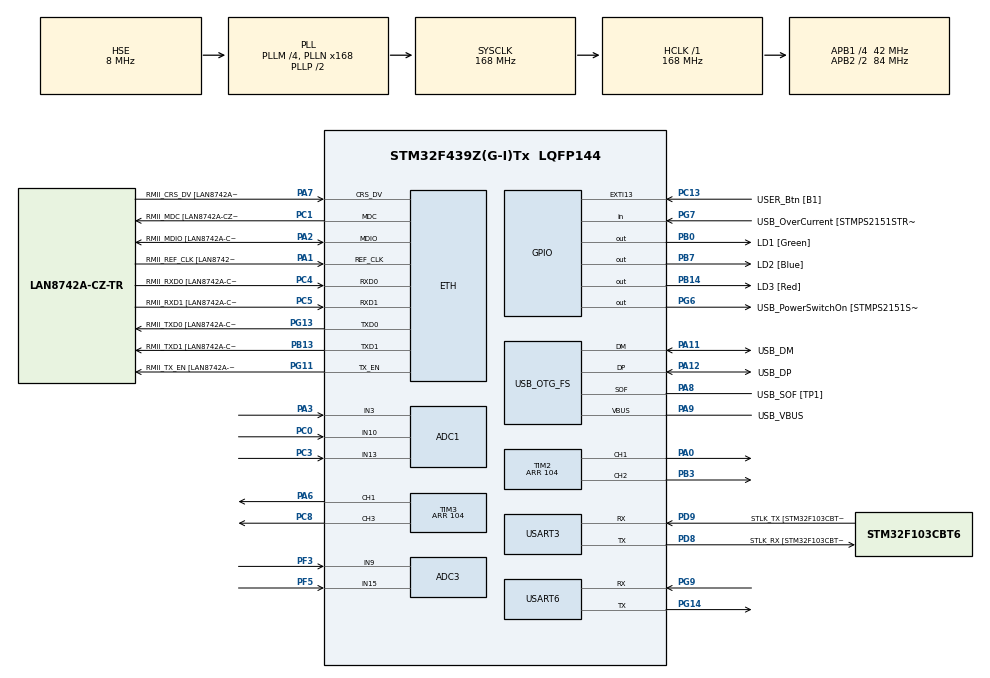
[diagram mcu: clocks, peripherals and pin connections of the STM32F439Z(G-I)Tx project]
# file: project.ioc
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ADC1.Channel-0\#ChannelRegularConversion=ADC_CHANNEL_3
ADC1.Channel-1\#ChannelRegularConversion=ADC_CHANNEL_10
ADC1.Channel-2\#ChannelRegularConversion=ADC_CHANNEL_13
ADC1.DiscontinuousConvMode=ENABLE
ADC1.InjNumberOfConversion=0
ADC1.NbrOfConversion=3
ADC1.NbrOfConversionFlag=1
ADC1.Rank-0\#ChannelRegularConversion=1
ADC1.Rank-1\#ChannelRegularConversion=2
ADC1.Rank-2\#ChannelRegularConversion=3
ADC1.SamplingTime-0\#ChannelRegularConversion=ADC_SAMPLETIME_480CYCLES
ADC1.SamplingTime-1\#ChannelRegularConversion=ADC_SAMPLETIME_480CYCLES
ADC1.SamplingTime-2\#ChannelRegularConversion=ADC_SAMPLETIME_480CYCLES
ADC1.ScanConvMode=ENABLE
ADC1.master=1
ADC3.Channel-0\#ChannelRegularConversion=ADC_CHANNEL_9
ADC3.Channel-1\#ChannelRegularConversion=ADC_CHANNEL_15
ADC3.DiscontinuousConvMode=ENABLE
ADC3.NbrOfConversion=2
ADC3.NbrOfConversionFlag=1
ADC3.Rank-0\#ChannelRegularConversion=1
ADC3.Rank-1\#ChannelRegularConversion=2
ADC3.SamplingTime-0\#ChannelRegularConversion=ADC_SAMPLETIME_480CYCLES
ADC3.SamplingTime-1\#ChannelRegularConversion=ADC_SAMPLETIME_480CYCLES
Dma.Request0=TIM2_CH1
Dma.Request1=TIM2_CH2/CH4
Dma.Request2=TIM3_CH1/TRIG
Dma.Request3=TIM3_CH3
Dma.TIM2_CH1.0.Direction=DMA_MEMORY_TO_PERIPH
Dma.TIM2_CH1.0.FIFOMode=DMA_FIFOMODE_DISABLE
Dma.TIM2_CH1.0.Instance=DMA1_Stream5
Dma.TIM2_CH1.0.MemDataAlignment=DMA_MDATAALIGN_WORD
Dma.TIM2_CH1.0.MemInc=DMA_MINC_ENABLE
Dma.TIM2_CH1.0.Mode=DMA_NORMAL
Dma.TIM2_CH1.0.PeriphDataAlignment=DMA_PDATAALIGN_WORD
Dma.TIM2_CH1.0.PeriphInc=DMA_PINC_DISABLE
Dma.TIM2_CH1.0.Priority=DMA_PRIORITY_LOW
Dma.TIM2_CH2/CH4.1.Direction=DMA_MEMORY_TO_PERIPH
Dma.TIM2_CH2/CH4.1.FIFOMode=DMA_FIFOMODE_DISABLE
Dma.TIM2_CH2/CH4.1.Instance=DMA1_Stream6
Dma.TIM2_CH2/CH4.1.MemDataAlignment=DMA_MDATAALIGN_WORD
Dma.TIM2_CH2/CH4.1.MemInc=DMA_MINC_ENABLE
Dma.TIM2_CH2/CH4.1.Mode=DMA_NORMAL
Dma.TIM2_CH2/CH4.1.PeriphDataAlignment=DMA_PDATAALIGN_WORD
Dma.TIM2_CH2/CH4.1.PeriphInc=DMA_PINC_DISABLE
Dma.TIM2_CH2/CH4.1.Priority=DMA_PRIORITY_LOW
Dma.TIM3_CH1/TRIG.2.Direction=DMA_MEMORY_TO_PERIPH
Dma.TIM3_CH1/TRIG.2.FIFOMode=DMA_FIFOMODE_DISABLE
Dma.TIM3_CH1/TRIG.2.Instance=DMA1_Stream4
Dma.TIM3_CH1/TRIG.2.MemDataAlignment=DMA_MDATAALIGN_HALFWORD
Dma.TIM3_CH1/TRIG.2.MemInc=DMA_MINC_ENABLE
Dma.TIM3_CH1/TRIG.2.Mode=DMA_NORMAL
Dma.TIM3_CH1/TRIG.2.PeriphDataAlignment=DMA_PDATAALIGN_HALFWORD
Dma.TIM3_CH1/TRIG.2.PeriphInc=DMA_PINC_DISABLE
Dma.TIM3_CH1/TRIG.2.Priority=DMA_PRIORITY_LOW
Dma.TIM3_CH3.3.Direction=DMA_MEMORY_TO_PERIPH
Dma.TIM3_CH3.3.FIFOMode=DMA_FIFOMODE_DISABLE
Dma.TIM3_CH3.3.Instance=DMA1_Stream7
Dma.TIM3_CH3.3.MemDataAlignment=DMA_MDATAALIGN_HALFWORD
Dma.TIM3_CH3.3.MemInc=DMA_MINC_ENABLE
Dma.TIM3_CH3.3.Mode=DMA_NORMAL
Dma.TIM3_CH3.3.PeriphDataAlignment=DMA_PDATAALIGN_HALFWORD
Dma.TIM3_CH3.3.PeriphInc=DMA_PINC_DISABLE
Dma.TIM3_CH3.3.Priority=DMA_PRIORITY_LOW
ETH.MediaInterface=HAL_ETH_RMII_MODE
ETH.PHY_Name=LAN8742A_PHY_ADDRESS
ETH.PHY_Value=0
ETH.PhyAddress=0
Mcu.Family=STM32F4
Mcu.Name=STM32F439Z(G-I)Tx
Mcu.Package=LQFP144
NVIC.DMA1_Stream4_IRQn=true\:0\:0\:false\:false\:true\:false\:true\:true
NVIC.DMA1_Stream5_IRQn=true\:0\:0\:false\:false\:true\:false\:true\:true
NVIC.DMA1_Stream6_IRQn=true\:0\:0\:false\:false\:true\:false\:true\:true
NVIC.DMA1_Stream7_IRQn=true\:0\:0\:false\:false\:true\:false\:true\:true
NVIC.PriorityGroup=NVIC_PRIORITYGROUP_4
NVIC.TIM2_IRQn=true\:0\:0\:false\:false\:true\:true\:true\:true
NVIC.TIM3_IRQn=true\:0\:0\:false\:false\:true\:true\:true\:true
PA0/WKUP.Signal=S_TIM2_CH1_ETR
PA1.GPIO_Label=RMII_REF_CLK [LAN8742A-CZ-TR_REFCLK0]
PA1.Mode=RMII
PA1.Signal=ETH_REF_CLK
PA10.GPIO_Label=USB_ID
PA10.Signal=USB_OTG_FS_ID
PA11.GPIO_Label=USB_DM
PA11.Mode=Device_Only
PA11.Signal=USB_OTG_FS_DM
PA12.GPIO_Label=USB_DP
PA12.Mode=Device_Only
PA12.Signal=USB_OTG_FS_DP
PA13.GPIO_Label=TMS
PA13.Mode=Serial_Wire
PA13.Signal=SYS_JTMS-SWDIO
PA14.GPIO_Label=TCK
PA14.Mode=Serial_Wire
PA14.Signal=SYS_JTCK-SWCLK
PA2.GPIO_Label=RMII_MDIO [LAN8742A-CZ-TR_MDIO]
PA2.Mode=RMII
PA2.Signal=ETH_MDIO
PA3.Signal=ADCx_IN3
PA6.Signal=S_TIM3_CH1
PA7.GPIO_Label=RMII_CRS_DV [LAN8742A-CZ-TR_CRS_DV]
PA7.Mode=RMII
PA7.Signal=ETH_CRS_DV
PA8.GPIO_Label=USB_SOF [TP1]
PA8.Mode=Activate_SOF_FS
PA8.Signal=USB_OTG_FS_SOF
PA9.GPIO_Label=USB_VBUS
PA9.Mode=Activate_VBUS
PA9.Signal=USB_OTG_FS_VBUS
PB0.GPIO_Label=LD1 [Green]
PB0.Signal=GPIO_Output
PB13.GPIO_Label=RMII_TXD1 [LAN8742A-CZ-TR_TXD1]
PB13.Mode=RMII
PB13.Signal=ETH_TXD1
PB14.GPIO_Label=LD3 [Red]
PB14.Signal=GPIO_Output
PB3.Signal=S_TIM2_CH2
PB7.GPIO_Label=LD2 [Blue]
PB7.Signal=GPIO_Output
PC0.Signal=ADCx_IN10
PC1.GPIO_Label=RMII_MDC [LAN8742A-CZ-TR_MDC]
PC1.Mode=RMII
PC1.Signal=ETH_MDC
PC13.GPIO_Label=USER_Btn [B1]
PC13.Signal=GPXTI13
PC14/OSC32_IN.Mode=LSE-External-Oscillator
PC14/OSC32_IN.Signal=RCC_OSC32_IN
PC15/OSC32_OUT.Mode=LSE-External-Oscillator
PC15/OSC32_OUT.Signal=RCC_OSC32_OUT
PC3.Signal=ADCx_IN13
PC4.GPIO_Label=RMII_RXD0 [LAN8742A-CZ-TR_RXD0]
PC4.Mode=RMII
PC4.Signal=ETH_RXD0
PC5.GPIO_Label=RMII_RXD1 [LAN8742A-CZ-TR_RXD1]
PC5.Mode=RMII
PC5.Signal=ETH_RXD1
PC8.Signal=S_TIM3_CH3
PD8.GPIO_Label=STLK_RX [STM32F103CBT6_PA3]
PD8.Mode=Asynchronous
PD8.Signal=USART3_TX
PD9.GPIO_Label=STLK_TX [STM32F103CBT6_PA2]
PD9.Mode=Asynchronous
PD9.Signal=USART3_RX
PF3.Mode=IN9
PF3.Signal=ADC3_IN9
PF5.Mode=IN15
PF5.Signal=ADC3_IN15
PG11.GPIO_Label=RMII_TX_EN [LAN8742A-CZ-TR_TXEN]
PG11.Mode=RMII
PG11.Signal=ETH_TX_EN
PG13.GPIO_Label=RMII_TXD0 [LAN8742A-CZ-TR_TXD0]
PG13.Mode=RMII
PG13.Signal=ETH_TXD0
PG14.Mode=Asynchronous
PG14.Signal=USART6_TX
PG6.GPIO_Label=USB_PowerSwitchOn [STMPS2151STR_EN]
PG6.Signal=GPIO_Output
PG7.GPIO_Label=USB_OverCurrent [STMPS2151STR_FAULT]
PG7.Signal=GPIO_Input
PG9.Mode=Asynchronous
PG9.Signal=USART6_RX
PH0/OSC_IN.GPIO_Label=MCO [STM32F103CBT6_PA8]
PH0/OSC_IN.Mode=HSE-External-Clock-Source
PH0/OSC_IN.Signal=RCC_OSC_IN
PH1/OSC_OUT.Mode=HSE-External-Clock-Source
PH1/OSC_OUT.Signal=RCC_OSC_OUT
ProjectManager.HeapSize=0x200
ProjectManager.StackSize=0x400
ProjectManager.TargetToolchain=STM32CubeIDE
RCC.48MHZClocksFreq_Value=48000000
RCC.AHBFreq_Value=168000000
RCC.APB1CLKDivider=RCC_HCLK_DIV4
RCC.APB1Freq_Value=42000000
RCC.APB1TimFreq_Value=84000000
RCC.APB2CLKDivider=RCC_HCLK_DIV2
RCC.APB2Freq_Value=84000000
RCC.APB2TimCLKDivider=2
RCC.APB2TimFreq_Value=168000000
RCC.CortexFreq_Value=168000000
RCC.HCLKFreq_Value=168000000
RCC.HSE_VALUE=8000000
RCC.HSI_VALUE=16000000
RCC.PLLM=4
RCC.PLLMUL=RCC_PLL_MUL9
RCC.PLLN=168
RCC.PLLQ=7
RCC.PRESCALERUSB=RCC_USBCLKSOURCE_PLL_DIV1_5
RCC.SYSCLKFreq_VALUE=168000000
RCC.SYSCLKSource=RCC_SYSCLKSOURCE_PLLCLK
RCC.SYSCLKSourceVirtual=RCC_SYSCLKSOURCE_PLLCLK
RCC.USBFreq_Value=48000000
RCC.VCOOutputFreq_Value=336000000
SH.ADCx_IN10.0=ADC1_IN10,IN10
SH.ADCx_IN13.0=ADC1_IN13,IN13
SH.ADCx_IN3.0=ADC1_IN3,IN3
SH.S_TIM2_CH1_ETR.0=TIM2_CH1,PWM Generation1 CH1
SH.S_TIM2_CH2.0=TIM2_CH2,PWM Generation2 CH2
SH.S_TIM3_CH1.0=TIM3_CH1,PWM Generation1 CH1
SH.S_TIM3_CH3.0=TIM3_CH3,PWM Generation3 CH3
TIM2.Channel-PWM\ Generation1\ CH1=TIM_CHANNEL_1
TIM2.Channel-PWM\ Generation2\ CH2=TIM_CHANNEL_2
TIM2.Period=104
TIM3.Channel-PWM\ Generation1\ CH1=TIM_CHANNEL_1
TIM3.Channel-PWM\ Generation3\ CH3=TIM_CHANNEL_3
TIM3.Period=104
USART3.VirtualMode=VM_ASYNC
USART6.VirtualMode=VM_ASYNC
USB_OTG_FS.VirtualMode=Device_Only
VP_TIM2_VS_ClockSourceINT.Mode=Internal
VP_TIM3_VS_ClockSourceINT.Mode=Internal
board=NUCLEO-F439ZI

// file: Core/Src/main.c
/* USER CODE BEGIN Header */
/**
  ******************************************************************************
  * @file           : main.c
  * @brief          : Main program body
  ******************************************************************************
  * @attention
  *
  * Copyright (c) 2026 STMicroelectronics.
  * All rights reserved.
  *
  * This software is licensed under terms that can be found in the LICENSE file
  * in the root directory of this software component.
  * If no LICENSE file comes with this software, it is provided AS-IS.
  *
  ******************************************************************************
  */
/* USER CODE END Header */
#include "main.h"
#include "string.h"

/* USER CODE BEGIN Includes */
#include <stdio.h>
#include "ws2812b.h"
/* USER CODE END Includes */

/* USER CODE BEGIN PTD */
uint8_t rx_char;
char rx_buffer[50];
int idx = 0;
char uart_buf[128]; // Increased size for printing 4 sensors safely
/* USER CODE END PTD */

ETH_TxPacketConfig TxConfig;
ETH_DMADescTypeDef  DMARxDscrTab[ETH_RX_DESC_CNT]; /* Ethernet Rx DMA Descriptors */
ETH_DMADescTypeDef  DMATxDscrTab[ETH_TX_DESC_CNT]; /* Ethernet Tx DMA Descriptors */

ADC_HandleTypeDef hadc1;
ADC_HandleTypeDef hadc3;

ETH_HandleTypeDef heth;

TIM_HandleTypeDef htim2;
TIM_HandleTypeDef htim3;
DMA_HandleTypeDef hdma_tim2_ch1;
DMA_HandleTypeDef hdma_tim2_ch2_ch4;
DMA_HandleTypeDef hdma_tim3_ch1_trig;
DMA_HandleTypeDef hdma_tim3_ch3;

UART_HandleTypeDef huart3;
UART_HandleTypeDef huart6;

PCD_HandleTypeDef hpcd_USB_OTG_FS;

/* USER CODE BEGIN PV */
uint32_t ldr_values[5] = {0, 0, 0, 0, 0}; // Increased to 5 to hold the Normalization LDR
int dist_values[4] = {999, 999, 999, 999};

uint32_t last_ldr_read_time = 0;

/* USER CODE END PV */

void SystemClock_Config(void);
static void MX_GPIO_Init(void);
static void MX_DMA_Init(void);
static void MX_ETH_Init(void);
static void MX_USART3_UART_Init(void);
static void MX_USB_OTG_FS_PCD_Init(void);
static void MX_USART6_UART_Init(void);
static void MX_ADC1_Init(void);
static void MX_TIM2_Init(void);
static void MX_TIM3_Init(void);
static void MX_ADC3_Init(void);

/* USER CODE BEGIN 0 */
int _write(int file, char *ptr, int len)
{
    HAL_UART_Transmit(&huart3, (uint8_t*)ptr, len, HAL_MAX_DELAY);
    return len;
}

void Auto_Headlight_Logic(int dist[4], uint32_t ldr[5])
{
    char status_buf[200];
    char* state[4];

    // --- NORMALIZATION VARIABLES ---
    uint32_t ambient_light = ldr[4];
    uint32_t day_threshold = 2500;
    uint32_t glare_offset = 300;
    // -----------------------------------

    static int current_brightness[4] = {0, 0, 0, 0};
    int target_brightness[4] = {0, 0, 0, 0};

    // Loop through all 4 strips independently to set targets and colors
    for (int s = 0; s < 4; s++)
    {
        int current_dist = dist[s];
        uint32_t current_ldr = ldr[s];

        // Strip 3 gets 10 LEDs, the rest get 8
        int num_leds = (s == 3) ? 10 : 8;

        // 1. MASTER OVERRIDE: Is it Daytime?
        if (ambient_light > day_threshold) {
            state[s]  = "DAY (DRL)";
            target_brightness[s] = 5;
        }
        // 2. Nighttime Logic
        else {
            // EXC HIGH: Very close (< 10) AND exceptionally bright (* 2)
            if (current_ldr > (ambient_light + glare_offset + 300)) {
                state[s]  = "CAR (Low)";
                target_brightness[s] = 2;
            }
            // OBS: Obstacle close by
            else if (current_dist < 15) {
                state[s]  = "OBS (High)";
                target_brightness[s] = 45;
            }
            // Normal night driving
            else {
                state[s]  = "NIGHT (Norm)";
                target_brightness[s] = 15;
            }
        }

        // 3. Set colors based on the state
        if (state[s][0] == 'D') {
            for(int i = 0; i < num_leds; i++) WS2812_Set_LED(s, i, 255, 255, 255);
        }
        else if (state[s][0] == 'C') {
            // --- MODIFIED: Dynamically calculate cutoff to turn off exactly the top 4 LEDs ---
            int leds_to_keep_on = num_leds - 4;

            for(int i = leds_to_keep_on; i < num_leds; i++) WS2812_Set_LED(s, i, 0, 0, 0);       // Top 4 OFF
            for(int i = 0; i < leds_to_keep_on; i++) WS2812_Set_LED(s, i, 255, 255, 255);        // Remaining Bottom LEDs ON
        }
        else {
            for(int i = 0; i < num_leds; i++) WS2812_Set_LED(s, i, 255, 255, 255);
        }
    }

    // --- RESTORED: CONCURRENT FADING LOOP ---
    // This blocks the rest of the code until the fade is complete,
    // guaranteeing a smooth, fast transition every time the target changes.
    int is_fading = 1;
    int first_pass = 1;

    while (is_fading || first_pass) {
        is_fading = 0;

        for (int s = 0; s < 4; s++) {
            if (current_brightness[s] != target_brightness[s] || first_pass) {

                if (current_brightness[s] < target_brightness[s]) {
                    current_brightness[s]++;
                    is_fading = 1;
                } else if (current_brightness[s] > target_brightness[s]) {
                    current_brightness[s]--;
                    is_fading = 1;
                }

                WS2812_Set_Brightness(s, current_brightness[s]);
                WS2812_Send(s);
            }
        }
        first_pass = 0;

        if (is_fading) {
            HAL_Delay(15); // The magic delay that dictates the speed of your fade
        }
    }
    // --- END FADING LOOP ---

    // 4. Print status
    sprintf(status_buf, "S0:%-12s | S1:%-12s | S2:%-12s | S3:%-12s\r\n",
            state[0], state[1], state[2], state[3]);
    HAL_UART_Transmit(&huart3, (uint8_t *)status_buf, strlen(status_buf), HAL_MAX_DELAY);
}
/* USER CODE END 0 */

int main(void)
{

  /* MCU Configuration--------------------------------------------------------*/

  /* Reset of all peripherals, Initializes the Flash interface and the Systick. */
  HAL_Init();

  /* Configure the system clock */
  SystemClock_Config();

  /* Initialize all configured peripherals */
  MX_GPIO_Init();
  MX_DMA_Init();
  MX_ETH_Init();
  MX_USART3_UART_Init();
  MX_USB_OTG_FS_PCD_Init();
  MX_USART6_UART_Init();
  MX_ADC1_Init();
  MX_TIM2_Init();
  MX_TIM3_Init();
  MX_ADC3_Init();
  /* USER CODE BEGIN 2 */

  ADC_ChannelConfTypeDef sConfigPatch = {0};
    sConfigPatch.SamplingTime = ADC_SAMPLETIME_480CYCLES; // Maximum listen time for LDRs

    // Fix ADC1 (Sensors 1, 2, 3)
    sConfigPatch.Channel = ADC_CHANNEL_3;
    sConfigPatch.Rank = 1;
    HAL_ADC_ConfigChannel(&hadc1, &sConfigPatch);

    sConfigPatch.Channel = ADC_CHANNEL_10;
    sConfigPatch.Rank = 2;
    HAL_ADC_ConfigChannel(&hadc1, &sConfigPatch);

    sConfigPatch.Channel = ADC_CHANNEL_13;
    sConfigPatch.Rank = 3;
    HAL_ADC_ConfigChannel(&hadc1, &sConfigPatch);

    // Fix ADC3 (Sensors 4, 5)
    sConfigPatch.Channel = ADC_CHANNEL_9;
    sConfigPatch.Rank = 1;
    HAL_ADC_ConfigChannel(&hadc3, &sConfigPatch);

    sConfigPatch.Channel = ADC_CHANNEL_15;
    sConfigPatch.Rank = 2;
    HAL_ADC_ConfigChannel(&hadc3, &sConfigPatch);
//   1. First, set the color to White for ALL LEDs on ALL 4 strips
  for(int s = 0; s < 4; s++) {
      for(int i = 0; i < 6; i++) {
          WS2812_Set_LED(s, i, 255, 255, 255);
      }
  }
//
//      // CAR DETECTED -> LOW BEAM
      for(int s = 0; s < 4; s++) WS2812_Set_Brightness(s, 25);
      for(int s = 0; s < 4; s++) {
           WS2812_Send(s);
       }

  /* USER CODE END 2 */

  /* Infinite loop */
  /* USER CODE BEGIN WHILE */
  /* Infinite loop */
    /* USER CODE BEGIN WHILE */
      HAL_UART_Transmit(&huart3, (uint8_t *)"STM32 STARTED!\r\n", 16, 1000);

    while (1)
    {
    	 // 1. RECEIVE 4 ULTRASONIC DISTANCES VIA UART6
    	        // Expected format from other board: "dist1,dist2,dist3,dist4\n"
        if (__HAL_UART_GET_FLAG(&huart6, UART_FLAG_ORE)) {
            __HAL_UART_CLEAR_OREFLAG(&huart6);
        }

        // 1. RECEIVE 4 ULTRASONIC DISTANCES VIA UART6
        // Note: Changed timeout from 10 to 0 so it runs at lightning speed!
        if (HAL_UART_Receive(&huart6, &rx_char, 1, 0) == HAL_OK)
        {
            if (rx_char == '\n')
            {
                rx_buffer[idx] = '\0';
                sscanf((char*)rx_buffer, "%d,%d,%d,%d", &dist_values[0], &dist_values[1], &dist_values[2], &dist_values[3]);
                idx = 0;
            }
            else if (rx_char != '\r')
            {
                rx_buffer[idx++] = rx_char;
                if (idx >= 49) idx = 0; // Prevent buffer overflow
            }
        }

        // 2. READ 5 LDRs (Every 100ms)
                if (HAL_GetTick() - last_ldr_read_time >= 100)
                {
                    // --- READ ADC1 (Sensors 1, 2, 3) ---
                    // Trigger 1: Hardware automatically reads Rank 1 (PA3)
                    HAL_ADC_Start(&hadc1);
                    if (HAL_ADC_PollForConversion(&hadc1, 10) == HAL_OK) ldr_values[0] = HAL_ADC_GetValue(&hadc1);

                    // Trigger 2: Hardware automatically steps to Rank 2 (PC0)
                    HAL_ADC_Start(&hadc1);
                    if (HAL_ADC_PollForConversion(&hadc1, 10) == HAL_OK) ldr_values[1] = HAL_ADC_GetValue(&hadc1);

                    // Trigger 3: Hardware automatically steps to Rank 3 (PC3)
                    HAL_ADC_Start(&hadc1);
                    if (HAL_ADC_PollForConversion(&hadc1, 10) == HAL_OK) ldr_values[2] = HAL_ADC_GetValue(&hadc1);

                    HAL_ADC_Stop(&hadc1);  // Resets sequence back to Rank 1 for the next loop

                    // --- READ ADC3 (Sensors 4, 5) ---
                    // Trigger 1: Hardware automatically reads Rank 1 (PF3)
                    HAL_ADC_Start(&hadc3);
                    if (HAL_ADC_PollForConversion(&hadc3, 10) == HAL_OK) ldr_values[3] = HAL_ADC_GetValue(&hadc3);

                    // Trigger 2: Hardware automatically steps to Rank 2 (Channel 15)
                    HAL_ADC_Start(&hadc3);
                    if (HAL_ADC_PollForConversion(&hadc3, 10) == HAL_OK) ldr_values[4] = HAL_ADC_GetValue(&hadc3);

                    HAL_ADC_Stop(&hadc3);  // Resets sequence back to Rank 1 for the next loop

                    // 3. CALL OUR INDEPENDENT LOGIC FUNCTION
                    Auto_Headlight_Logic(dist_values, ldr_values);

                    // 4. PRINT THE SENSOR VALUES
                    sprintf(uart_buf, "DIST: %d, %d, %d, %d | LDR: %lu, %lu, %lu, %lu | NORM: %lu\r\n",
                            dist_values[0], dist_values[1], dist_values[2], dist_values[3],
                            ldr_values[0], ldr_values[1], ldr_values[2], ldr_values[3], ldr_values[4]);
                    HAL_UART_Transmit(&huart3, (uint8_t *)uart_buf, strlen(uart_buf), HAL_MAX_DELAY);

                    last_ldr_read_time = HAL_GetTick();
                }
    /* USER CODE END WHILE */

  }
}
//hello
void SystemClock_Config(void)
{
  RCC_OscInitTypeDef RCC_OscInitStruct = {0};
  RCC_ClkInitTypeDef RCC_ClkInitStruct = {0};

  /** Configure the main internal regulator output voltage
  */
  __HAL_RCC_PWR_CLK_ENABLE();
  __HAL_PWR_VOLTAGESCALING_CONFIG(PWR_REGULATOR_VOLTAGE_SCALE1);

  /** Initializes the RCC Oscillators according to the specified parameters
  * in the RCC_OscInitTypeDef structure.
  */
  RCC_OscInitStruct.OscillatorType = RCC_OSCILLATORTYPE_HSE;
  RCC_OscInitStruct.HSEState = RCC_HSE_BYPASS;
  RCC_OscInitStruct.PLL.PLLState = RCC_PLL_ON;
  RCC_OscInitStruct.PLL.PLLSource = RCC_PLLSOURCE_HSE;
  RCC_OscInitStruct.PLL.PLLM = 4;
  RCC_OscInitStruct.PLL.PLLN = 168;
  RCC_OscInitStruct.PLL.PLLP = RCC_PLLP_DIV2;
  RCC_OscInitStruct.PLL.PLLQ = 7;
  if (HAL_RCC_OscConfig(&RCC_OscInitStruct) != HAL_OK)
  {
    Error_Handler();
  }

  /** Initializes the CPU, AHB and APB buses clocks
  */
  RCC_ClkInitStruct.ClockType = RCC_CLOCKTYPE_HCLK|RCC_CLOCKTYPE_SYSCLK
                              |RCC_CLOCKTYPE_PCLK1|RCC_CLOCKTYPE_PCLK2;
  RCC_ClkInitStruct.SYSCLKSource = RCC_SYSCLKSOURCE_PLLCLK;
  RCC_ClkInitStruct.AHBCLKDivider = RCC_SYSCLK_DIV1;
  RCC_ClkInitStruct.APB1CLKDivider = RCC_HCLK_DIV4;
  RCC_ClkInitStruct.APB2CLKDivider = RCC_HCLK_DIV2;

  if (HAL_RCC_ClockConfig(&RCC_ClkInitStruct, FLASH_LATENCY_5) != HAL_OK)
  {
    Error_Handler();
  }
}

static void MX_ADC1_Init(void)
{

  ADC_ChannelConfTypeDef sConfig = {0};

  /** Configure the global features of the ADC (Clock, Resolution, Data Alignment and number of conversion)
  */
  hadc1.Instance = ADC1;
  hadc1.Init.ClockPrescaler = ADC_CLOCK_SYNC_PCLK_DIV4;
  hadc1.Init.Resolution = ADC_RESOLUTION_12B;
  hadc1.Init.ScanConvMode = ENABLE;
  hadc1.Init.ContinuousConvMode = DISABLE;
  hadc1.Init.DiscontinuousConvMode = ENABLE;
  hadc1.Init.NbrOfDiscConversion = 1;
  hadc1.Init.ExternalTrigConvEdge = ADC_EXTERNALTRIGCONVEDGE_NONE;
  hadc1.Init.ExternalTrigConv = ADC_SOFTWARE_START;
  hadc1.Init.DataAlign = ADC_DATAALIGN_RIGHT;
  hadc1.Init.NbrOfConversion = 3;
  hadc1.Init.DMAContinuousRequests = DISABLE;
  hadc1.Init.EOCSelection = ADC_EOC_SINGLE_CONV;
  if (HAL_ADC_Init(&hadc1) != HAL_OK)
  {
    Error_Handler();
  }

  /** Configure for the selected ADC regular channel its corresponding rank in the sequencer and its sample time.
  */
  sConfig.Channel = ADC_CHANNEL_3;
  sConfig.Rank = 1;
  sConfig.SamplingTime = ADC_SAMPLETIME_480CYCLES;
  if (HAL_ADC_ConfigChannel(&hadc1, &sConfig) != HAL_OK)
  {
    Error_Handler();
  }

  /** Configure for the selected ADC regular channel its corresponding rank in the sequencer and its sample time.
  */
  sConfig.Channel = ADC_CHANNEL_10;
  sConfig.Rank = 2;
  if (HAL_ADC_ConfigChannel(&hadc1, &sConfig) != HAL_OK)
  {
    Error_Handler();
  }

  /** Configure for the selected ADC regular channel its corresponding rank in the sequencer and its sample time.
  */
  sConfig.Channel = ADC_CHANNEL_13;
  sConfig.Rank = 3;
  if (HAL_ADC_ConfigChannel(&hadc1, &sConfig) != HAL_OK)
  {
    Error_Handler();
  }

}

static void MX_ADC3_Init(void)
{

  ADC_ChannelConfTypeDef sConfig = {0};

  /** Configure the global features of the ADC (Clock, Resolution, Data Alignment and number of conversion)
  */
  hadc3.Instance = ADC3;
  hadc3.Init.ClockPrescaler = ADC_CLOCK_SYNC_PCLK_DIV4;
  hadc3.Init.Resolution = ADC_RESOLUTION_12B;
  hadc3.Init.ScanConvMode = ENABLE;
  hadc3.Init.ContinuousConvMode = DISABLE;
  hadc3.Init.DiscontinuousConvMode = ENABLE;
  hadc3.Init.NbrOfDiscConversion = 1;
  hadc3.Init.ExternalTrigConvEdge = ADC_EXTERNALTRIGCONVEDGE_NONE;
  hadc3.Init.ExternalTrigConv = ADC_SOFTWARE_START;
  hadc3.Init.DataAlign = ADC_DATAALIGN_RIGHT;
  hadc3.Init.NbrOfConversion = 2;
  hadc3.Init.DMAContinuousRequests = DISABLE;
  hadc3.Init.EOCSelection = ADC_EOC_SINGLE_CONV;
  if (HAL_ADC_Init(&hadc3) != HAL_OK)
  {
    Error_Handler();
  }

  /** Configure for the selected ADC regular channel its corresponding rank in the sequencer and its sample time.
  */
  sConfig.Channel = ADC_CHANNEL_9;
  sConfig.Rank = 1;
  sConfig.SamplingTime = ADC_SAMPLETIME_480CYCLES;
  if (HAL_ADC_ConfigChannel(&hadc3, &sConfig) != HAL_OK)
  {
    Error_Handler();
  }

  /** Configure for the selected ADC regular channel its corresponding rank in the sequencer and its sample time.
  */
  sConfig.Channel = ADC_CHANNEL_15;
  sConfig.Rank = 2;
  if (HAL_ADC_ConfigChannel(&hadc3, &sConfig) != HAL_OK)
  {
    Error_Handler();
  }

}

static void MX_ETH_Init(void)
{

   static uint8_t MACAddr[6];

  heth.Instance = ETH;
  MACAddr[0] = 0x00;
  MACAddr[1] = 0x80;
  MACAddr[2] = 0xE1;
  MACAddr[3] = 0x00;
  MACAddr[4] = 0x00;
  MACAddr[5] = 0x00;
  heth.Init.MACAddr = &MACAddr[0];
  heth.Init.MediaInterface = HAL_ETH_RMII_MODE;
  heth.Init.TxDesc = DMATxDscrTab;
  heth.Init.RxDesc = DMARxDscrTab;
  heth.Init.RxBuffLen = 1524;

  if (HAL_ETH_Init(&heth) != HAL_OK)
  {
    Error_Handler();
  }

  memset(&TxConfig, 0 , sizeof(ETH_TxPacketConfig));
  TxConfig.Attributes = ETH_TX_PACKETS_FEATURES_CSUM | ETH_TX_PACKETS_FEATURES_CRCPAD;
  TxConfig.ChecksumCtrl = ETH_CHECKSUM_IPHDR_PAYLOAD_INSERT_PHDR_CALC;
  TxConfig.CRCPadCtrl = ETH_CRC_PAD_INSERT;

}

static void MX_TIM2_Init(void)
{

  TIM_ClockConfigTypeDef sClockSourceConfig = {0};
  TIM_MasterConfigTypeDef sMasterConfig = {0};
  TIM_OC_InitTypeDef sConfigOC = {0};

  htim2.Instance = TIM2;
  htim2.Init.Prescaler = 0;
  htim2.Init.CounterMode = TIM_COUNTERMODE_UP;
  htim2.Init.Period = 104;
  htim2.Init.ClockDivision = TIM_CLOCKDIVISION_DIV1;
  htim2.Init.AutoReloadPreload = TIM_AUTORELOAD_PRELOAD_DISABLE;
  if (HAL_TIM_Base_Init(&htim2) != HAL_OK)
  {
    Error_Handler();
  }
  sClockSourceConfig.ClockSource = TIM_CLOCKSOURCE_INTERNAL;
  if (HAL_TIM_ConfigClockSource(&htim2, &sClockSourceConfig) != HAL_OK)
  {
    Error_Handler();
  }
  if (HAL_TIM_PWM_Init(&htim2) != HAL_OK)
  {
    Error_Handler();
  }
  sMasterConfig.MasterOutputTrigger = TIM_TRGO_RESET;
  sMasterConfig.MasterSlaveMode = TIM_MASTERSLAVEMODE_DISABLE;
  if (HAL_TIMEx_MasterConfigSynchronization(&htim2, &sMasterConfig) != HAL_OK)
  {
    Error_Handler();
  }
  sConfigOC.OCMode = TIM_OCMODE_PWM1;
  sConfigOC.Pulse = 0;
  sConfigOC.OCPolarity = TIM_OCPOLARITY_HIGH;
  sConfigOC.OCFastMode = TIM_OCFAST_DISABLE;
  if (HAL_TIM_PWM_ConfigChannel(&htim2, &sConfigOC, TIM_CHANNEL_1) != HAL_OK)
  {
    Error_Handler();
  }
  if (HAL_TIM_PWM_ConfigChannel(&htim2, &sConfigOC, TIM_CHANNEL_2) != HAL_OK)
  {
    Error_Handler();
  }
  HAL_TIM_MspPostInit(&htim2);

}

static void MX_TIM3_Init(void)
{

  TIM_ClockConfigTypeDef sClockSourceConfig = {0};
  TIM_MasterConfigTypeDef sMasterConfig = {0};
  TIM_OC_InitTypeDef sConfigOC = {0};

  htim3.Instance = TIM3;
  htim3.Init.Prescaler = 0;
  htim3.Init.CounterMode = TIM_COUNTERMODE_UP;
  htim3.Init.Period = 104;
  htim3.Init.ClockDivision = TIM_CLOCKDIVISION_DIV1;
  htim3.Init.AutoReloadPreload = TIM_AUTORELOAD_PRELOAD_DISABLE;
  if (HAL_TIM_Base_Init(&htim3) != HAL_OK)
  {
    Error_Handler();
  }
  sClockSourceConfig.ClockSource = TIM_CLOCKSOURCE_INTERNAL;
  if (HAL_TIM_ConfigClockSource(&htim3, &sClockSourceConfig) != HAL_OK)
  {
    Error_Handler();
  }
  if (HAL_TIM_PWM_Init(&htim3) != HAL_OK)
  {
    Error_Handler();
  }
  sMasterConfig.MasterOutputTrigger = TIM_TRGO_RESET;
  sMasterConfig.MasterSlaveMode = TIM_MASTERSLAVEMODE_DISABLE;
  if (HAL_TIMEx_MasterConfigSynchronization(&htim3, &sMasterConfig) != HAL_OK)
  {
    Error_Handler();
  }
  sConfigOC.OCMode = TIM_OCMODE_PWM1;
  sConfigOC.Pulse = 0;
  sConfigOC.OCPolarity = TIM_OCPOLARITY_HIGH;
  sConfigOC.OCFastMode = TIM_OCFAST_DISABLE;
  if (HAL_TIM_PWM_ConfigChannel(&htim3, &sConfigOC, TIM_CHANNEL_1) != HAL_OK)
  {
    Error_Handler();
  }
  if (HAL_TIM_PWM_ConfigChannel(&htim3, &sConfigOC, TIM_CHANNEL_3) != HAL_OK)
  {
    Error_Handler();
  }
  HAL_TIM_MspPostInit(&htim3);

}

static void MX_USART3_UART_Init(void)
{

  huart3.Instance = USART3;
  huart3.Init.BaudRate = 115200;
  huart3.Init.WordLength = UART_WORDLENGTH_8B;
  huart3.Init.StopBits = UART_STOPBITS_1;
  huart3.Init.Parity = UART_PARITY_NONE;
  huart3.Init.Mode = UART_MODE_TX_RX;
  huart3.Init.HwFlowCtl = UART_HWCONTROL_NONE;
  huart3.Init.OverSampling = UART_OVERSAMPLING_16;
  if (HAL_UART_Init(&huart3) != HAL_OK)
  {
    Error_Handler();
  }

}

static void MX_USART6_UART_Init(void)
{

  huart6.Instance = USART6;
  huart6.Init.BaudRate = 115200;
  huart6.Init.WordLength = UART_WORDLENGTH_8B;
  huart6.Init.StopBits = UART_STOPBITS_1;
  huart6.Init.Parity = UART_PARITY_NONE;
  huart6.Init.Mode = UART_MODE_TX_RX;
  huart6.Init.HwFlowCtl = UART_HWCONTROL_NONE;
  huart6.Init.OverSampling = UART_OVERSAMPLING_16;
  if (HAL_UART_Init(&huart6) != HAL_OK)
  {
    Error_Handler();
  }

}

static void MX_USB_OTG_FS_PCD_Init(void)
{

  hpcd_USB_OTG_FS.Instance = USB_OTG_FS;
  hpcd_USB_OTG_FS.Init.dev_endpoints = 4;
  hpcd_USB_OTG_FS.Init.speed = PCD_SPEED_FULL;
  hpcd_USB_OTG_FS.Init.dma_enable = DISABLE;
  hpcd_USB_OTG_FS.Init.phy_itface = PCD_PHY_EMBEDDED;
  hpcd_USB_OTG_FS.Init.Sof_enable = ENABLE;
  hpcd_USB_OTG_FS.Init.low_power_enable = DISABLE;
  hpcd_USB_OTG_FS.Init.lpm_enable = DISABLE;
  hpcd_USB_OTG_FS.Init.vbus_sensing_enable = ENABLE;
  hpcd_USB_OTG_FS.Init.use_dedicated_ep1 = DISABLE;
  if (HAL_PCD_Init(&hpcd_USB_OTG_FS) != HAL_OK)
  {
    Error_Handler();
  }

}

static void MX_DMA_Init(void)
{

  /* DMA controller clock enable */
  __HAL_RCC_DMA1_CLK_ENABLE();

  /* DMA interrupt init */
  /* DMA1_Stream4_IRQn interrupt configuration */
  HAL_NVIC_SetPriority(DMA1_Stream4_IRQn, 0, 0);
  HAL_NVIC_EnableIRQ(DMA1_Stream4_IRQn);
  /* DMA1_Stream5_IRQn interrupt configuration */
  HAL_NVIC_SetPriority(DMA1_Stream5_IRQn, 0, 0);
  HAL_NVIC_EnableIRQ(DMA1_Stream5_IRQn);
  /* DMA1_Stream6_IRQn interrupt configuration */
  HAL_NVIC_SetPriority(DMA1_Stream6_IRQn, 0, 0);
  HAL_NVIC_EnableIRQ(DMA1_Stream6_IRQn);
  /* DMA1_Stream7_IRQn interrupt configuration */
  HAL_NVIC_SetPriority(DMA1_Stream7_IRQn, 0, 0);
  HAL_NVIC_EnableIRQ(DMA1_Stream7_IRQn);

}

static void MX_GPIO_Init(void)
{
  GPIO_InitTypeDef GPIO_InitStruct = {0};

  /* GPIO Ports Clock Enable */
  __HAL_RCC_GPIOC_CLK_ENABLE();
  __HAL_RCC_GPIOF_CLK_ENABLE();
  __HAL_RCC_GPIOH_CLK_ENABLE();
  __HAL_RCC_GPIOA_CLK_ENABLE();
  __HAL_RCC_GPIOB_CLK_ENABLE();
  __HAL_RCC_GPIOD_CLK_ENABLE();
  __HAL_RCC_GPIOG_CLK_ENABLE();

  /*Configure GPIO pin Output Level */
  HAL_GPIO_WritePin(GPIOB, LD1_Pin|LD3_Pin|LD2_Pin, GPIO_PIN_RESET);

  /*Configure GPIO pin Output Level */
  HAL_GPIO_WritePin(USB_PowerSwitchOn_GPIO_Port, USB_PowerSwitchOn_Pin, GPIO_PIN_RESET);

  /*Configure GPIO pin : USER_Btn_Pin */
  GPIO_InitStruct.Pin = USER_Btn_Pin;
  GPIO_InitStruct.Mode = GPIO_MODE_IT_RISING;
  GPIO_InitStruct.Pull = GPIO_NOPULL;
  HAL_GPIO_Init(USER_Btn_GPIO_Port, &GPIO_InitStruct);

  /*Configure GPIO pins : LD1_Pin LD3_Pin LD2_Pin */
  GPIO_InitStruct.Pin = LD1_Pin|LD3_Pin|LD2_Pin;
  GPIO_InitStruct.Mode = GPIO_MODE_OUTPUT_PP;
  GPIO_InitStruct.Pull = GPIO_NOPULL;
  GPIO_InitStruct.Speed = GPIO_SPEED_FREQ_LOW;
  HAL_GPIO_Init(GPIOB, &GPIO_InitStruct);

  /*Configure GPIO pin : USB_PowerSwitchOn_Pin */
  GPIO_InitStruct.Pin = USB_PowerSwitchOn_Pin;
  GPIO_InitStruct.Mode = GPIO_MODE_OUTPUT_PP;
  GPIO_InitStruct.Pull = GPIO_NOPULL;
  GPIO_InitStruct.Speed = GPIO_SPEED_FREQ_LOW;
  HAL_GPIO_Init(USB_PowerSwitchOn_GPIO_Port, &GPIO_InitStruct);

  /*Configure GPIO pin : USB_OverCurrent_Pin */
  GPIO_InitStruct.Pin = USB_OverCurrent_Pin;
  GPIO_InitStruct.Mode = GPIO_MODE_INPUT;
  GPIO_InitStruct.Pull = GPIO_NOPULL;
  HAL_GPIO_Init(USB_OverCurrent_GPIO_Port, &GPIO_InitStruct);

}

void Error_Handler(void)
{
  __disable_irq();
  while (1)
  {
  }
}
